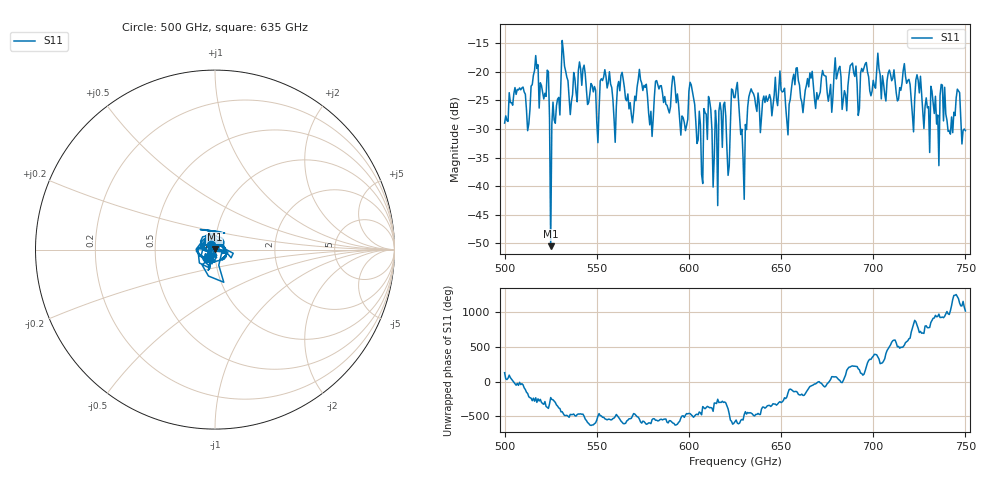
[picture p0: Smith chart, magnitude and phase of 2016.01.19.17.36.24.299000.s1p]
!Created with skrf (http://scikit-rf.org).
# GHz S RI R 50.0
!freq ReS11 ImS11
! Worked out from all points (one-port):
!   401 points, 500 GHz to 750 GHz, reference 50 ohm
!   lowest |S11| = -50.5 dB at 525 GHz (marker M1), VSWR 1.01, Z = 49.8 + j0.228 ohm
!   |S11| at or under -10 dB: start of sweep to end of sweep
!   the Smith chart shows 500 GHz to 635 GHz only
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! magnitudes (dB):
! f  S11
! 500 GHz  -29.0
! 513.1 GHz  -29.1
! 516.9 GHz  -17.1
! 525 GHz  -50.5
! 531.2 GHz  -14.5
! 550 GHz  -28.7
! 562.5 GHz  -23.3
! 568.8 GHz  -27.4
! 574.4 GHz  -22.0
! 579.4 GHz  -26.9
! 583.1 GHz  -22.3
! 593.8 GHz  -23.9
! 598.1 GHz  -30.3
! 601.2 GHz  -22.3
! 606.2 GHz  -29.3
! 610.6 GHz  -24.3
! 614.4 GHz  -26.7
! 618.1 GHz  -33.2
! 621.2 GHz  -38.1
! 625 GHz  -24.5
! 629.4 GHz  -35.1
! 633.8 GHz  -23.0
! 656.2 GHz  -21.3
! 680.6 GHz  -20.4
! 684.4 GHz  -23.3
! 687.5 GHz  -18.9
! 718.8 GHz  -21.5
! 750 GHz  -30.3
